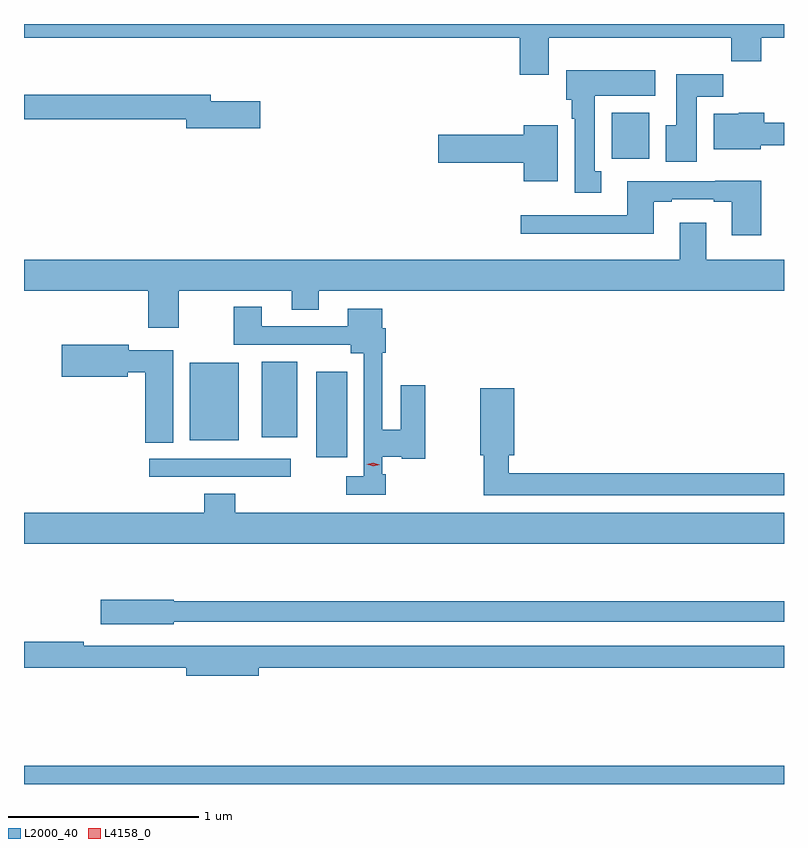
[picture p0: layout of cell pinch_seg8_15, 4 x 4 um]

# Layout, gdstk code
import gdstk
lib = gdstk.Library(unit=1e-6, precision=1e-09)
def R(c, l, rs):  # rectangles x0, y0, x1, y1
    for r in rs: c.add(gdstk.rectangle(r[:2], r[2:], *l))
def P(c, l, *ps):  # polygons
    for p in ps: c.add(gdstk.Polygon(p, *l))
L2000_40 = (2000, 40)
L4158_0 = (4158, 0)

pinch_seg8_15 = lib.new_cell('pinch_seg8_15')
R(pinch_seg8_15, L2000_40, [(1031.621,1127.224,1035.621,1127.32), (1032.279,1128.84,1033.024,1128.936), (1033.16,1128.945,1033.321,1129.393), (1032.494,1129.034,1032.751,1129.441), (1032.872,1129.049,1033.06,1129.447), (1034.714,1130.516,1034.911,1130.758)])
P(pinch_seg8_15, L2000_40, [(1034.383,1131.152),(1035.343,1131.152),(1035.343,1131.028),(1035.5,1131.028),(1035.5,1131.152),(1035.621,1131.152),(1035.621,1131.224),(1031.621,1131.224),(1031.621,1131.152),(1034.231,1131.152),(1034.231,1130.958),(1034.383,1130.958)],
  [(1034.659,1130.45),(1034.626,1130.45),(1034.626,1130.846),(1034.944,1130.846),(1034.944,1130.98),(1034.474,1130.98),(1034.474,1130.826),(1034.504,1130.826),(1034.504,1130.726),(1034.519,1130.726),(1034.519,1130.337),(1034.659,1130.337)],
  [(1035.163,1130.84),(1035.302,1130.84),(1035.302,1130.959),(1035.053,1130.959),(1035.053,1130.692),(1034.999,1130.692),(1034.999,1130.499),(1035.163,1130.499)],
  [(1032.865,1130.817),(1032.604,1130.817),(1032.604,1130.851),(1031.621,1130.851),(1031.621,1130.722),(1032.476,1130.722),(1032.476,1130.675),(1032.865,1130.675)],
  [(1035.498,1130.586),(1035.621,1130.586),(1035.621,1130.704),(1035.516,1130.704),(1035.516,1130.758),(1035.384,1130.758),(1035.384,1130.752),(1035.251,1130.752),(1035.251,1130.564),(1035.498,1130.564)],
  [(1034.431,1130.692),(1034.252,1130.692),(1034.252,1130.642),(1033.8,1130.642),(1033.8,1130.495),(1034.252,1130.495),(1034.252,1130.396),(1034.431,1130.396)],
  [(1035.5,1130.398),(1035.259,1130.398),(1035.259,1130.397),(1034.795,1130.397),(1034.795,1130.217),(1034.235,1130.217),(1034.235,1130.12),(1034.935,1130.12),(1034.935,1130.289),(1035.031,1130.289),(1035.031,1130.301),(1035.251,1130.301),(1035.251,1130.289),(1035.347,1130.289),(1035.347,1130.112),(1035.5,1130.112)],
  [(1032.435,1129.82),(1033.031,1129.82),(1033.031,1129.721),(1033.171,1129.721),(1033.171,1129.82),(1035.621,1129.82),(1035.621,1129.984),(1035.211,1129.984),(1035.211,1130.179),(1035.071,1130.179),(1035.071,1129.984),(1031.621,1129.984),(1031.621,1129.82),(1032.275,1129.82),(1032.275,1129.626),(1032.435,1129.626)],
  [(1033.526,1128.854),(1033.506,1128.854),(1033.506,1128.946),(1033.608,1128.946),(1033.608,1128.935),(1033.734,1128.935),(1033.734,1129.324),(1033.604,1129.324),(1033.604,1129.088),(1033.506,1129.088),(1033.506,1129.494),(1033.526,1129.494),(1033.526,1129.622),(1033.507,1129.622),(1033.507,1129.726),(1033.325,1129.726),(1033.325,1129.632),(1032.871,1129.632),(1032.871,1129.735),(1032.724,1129.735),(1032.724,1129.536),(1033.34,1129.536),(1033.34,1129.49),(1033.41,1129.49),(1033.41,1128.843),(1033.317,1128.843),(1033.317,1128.747),(1033.526,1128.747)],
  [(1032.406,1129.507),(1032.172,1129.507),(1032.172,1129.537),(1031.82,1129.537),(1031.82,1129.367),(1032.168,1129.367),(1032.168,1129.39),(1032.26,1129.39),(1032.26,1129.021),(1032.406,1129.021)],
  [(1035.621,1128.86),(1034.173,1128.86),(1034.173,1128.953),(1034.201,1128.953),(1034.201,1129.306),(1034.023,1129.306),(1034.023,1128.953),(1034.041,1128.953),(1034.041,1128.744),(1035.621,1128.744)],
  [(1035.621,1128.652),(1032.734,1128.652),(1032.734,1128.751),(1032.569,1128.751),(1032.569,1128.652),(1031.621,1128.652),(1031.621,1128.488),(1035.621,1128.488)],
  [(1032.408,1128.078),(1035.621,1128.078),(1035.621,1128.187),(1032.408,1128.187),(1032.408,1128.195),(1032.024,1128.195),(1032.024,1128.065),(1032.408,1128.065)],
  [(1032.856,1127.836),(1035.621,1127.836),(1035.621,1127.952),(1031.936,1127.952),(1031.936,1127.972),(1031.621,1127.972),(1031.621,1127.836),(1032.476,1127.836),(1032.476,1127.794),(1032.856,1127.794)])
P(pinch_seg8_15, L4158_0, [(1033.459,1128.896),(1033.426,1128.908),(1033.426,1128.908),(1033.426,1128.908),(1033.46,1128.916),(1033.493,1128.903),(1033.493,1128.903),(1033.493,1128.903)])

lib.write_gds('pinch_seg8_15.gds')
